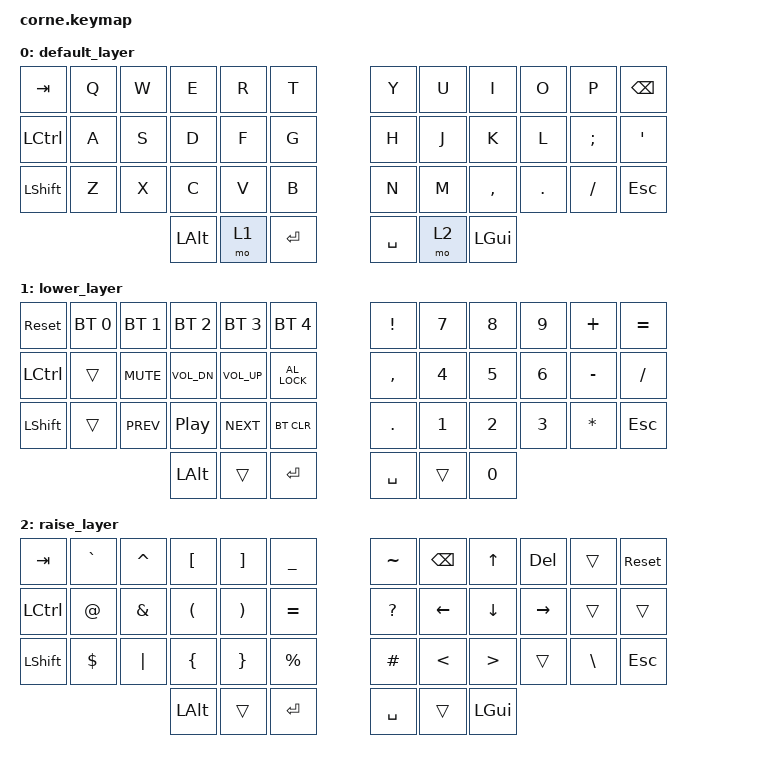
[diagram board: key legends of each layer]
/*
 * Copyright (c) 2020 The ZMK Contributors
 *
 * SPDX-License-Identifier: MIT
 */

#include <behaviors.dtsi>
#include <dt-bindings/zmk/keys.h>
#include <dt-bindings/zmk/bt.h>

/ {
        keymap {
                compatible = "zmk,keymap";

                default_layer {
/**
-----------------------------------------------------------------------------------------
| TAB |  Q  |  W  |  E  |  R  |  T  | * |  Y  |  U   |  I  |  O  |  P | BKSP|
| CTRL|  A  |  S  |  D  |  F  |  G  | * |  H  |  J   |  K  |  L  |  :;  |  '" |
| SHFT|  Z  |  X  |  C  |  V  |  B  | * |  N  |  M   |  ,  |  .  |  /  | ESC |
                   | ALT | LWR | ENT | * | SPC | RSE  | GUI |
*/
                        bindings = <
   &kp TAB   &kp Q &kp W &kp E &kp R &kp T   &kp Y &kp U  &kp I     &kp O   &kp P    &kp BSPC
   &kp LCTRL &kp A &kp S &kp D &kp F &kp G   &kp H &kp J  &kp K     &kp L   &kp SEMI &kp SQT
   &kp LSHFT &kp Z &kp X &kp C &kp V &kp B   &kp N &kp M  &kp COMMA &kp DOT &kp FSLH &kp ESC
                  &kp LALT &mo 1 &kp RET     &kp SPACE &mo 2 &kp LGUI
                        >;
                };

                lower_layer {
/**
-----------------------------------------------------------------------------------------
| RSET | BT1 | BT2 | BT3 | BT4 | BT5 | * |  !  |  7  |  8  |  9  |  +  |  /  |
| CTRL |     | MUTE| VOLD| VOLU| LOCK| * |  .  |  4  |  5  |  6  |  -  |  =  |
| SHFT |     | PREV| PLAY| NEXT| CLBT| * |  ,  |  1  |  2  |  3  |  *  | ESC |
                   | ALT |     | ENT | * | SPC |     |  0  |
*/
      bindings = <
   &sys_reset &bt BT_SEL 0 &bt BT_SEL 1 &bt BT_SEL 2 &bt BT_SEL 3 &bt BT_SEL 4     &kp EXCL  &kp N7  &kp N8  &kp N9  &kp PLUS  &kp EQUAL
   &kp LCTRL  &trans       &kp C_MUTE   &kp C_VOL_DN &kp C_VOL_UP &kp C_AL_LOCK    &kp COMMA &kp N4  &kp N5  &kp N6  &kp MINUS &kp SLASH
   &kp LSHFT  &trans       &kp C_PREV   &kp C_PP     &kp C_NEXT   &bt BT_CLR       &kp DOT   &kp N1  &kp N2  &kp N3  &kp STAR  &kp ESC
                          	            &kp LALT     &trans       &kp RET          &kp SPACE &trans  &kp N0
                        >;
                };

                raise_layer {
/**
-----------------------------------------------------------------------------------------
|  TAB |  `  |  ^  |  [  |  ]  |  _  | * |  ~  |BKSP |  U  | DEL |     | RSET |
| CTRL |  @  |  &  |  (  |  )  |  =  | * |  ?  |  L  |  D  |  R  |     |      |
| SHFT |  $  |  |  |  {  |  }  |  %  | * |  #  |  <  |  >  |     |  \  | ESC  |
                   | ALT |     | ENT | * | SPC |     | GUI |
*/
      bindings = <
   &kp  TAB  &kp GRAVE &kp CARET &kp LBKT  &kp RBKT  &kp UNDER      &kp TILDE &kp BSPC &kp UP   &kp DEL   &trans    &sys_reset
   &kp LCTRL &kp AT    &kp AMPS  &kp LPAR  &kp RPAR  &kp EQUAL      &kp QMARK &kp LEFT &kp DOWN &kp RIGHT &trans    &trans
   &kp LSHFT &kp DLLR  &kp PIPE  &kp LBRC  &kp RBRC  &kp PRCNT      &kp POUND &kp LT   &kp GT   &trans    &kp BSLH  &kp ESC
                    	         &kp LALT  &trans    &kp RET        &kp SPACE &trans   &kp LGUI
                        >;
                };
        };
};
